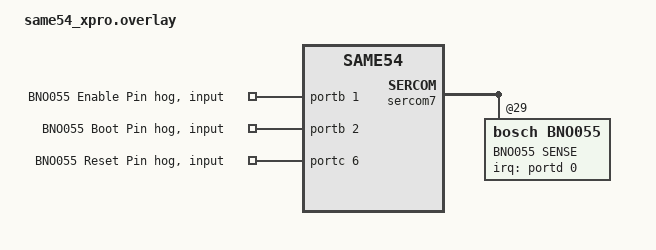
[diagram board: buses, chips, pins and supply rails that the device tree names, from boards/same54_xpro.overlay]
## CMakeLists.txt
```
# SPDX-License-Identifier: Apache-2.0

cmake_minimum_required(VERSION 3.20.0)
find_package(Zephyr REQUIRED HINTS $ENV{ZEPHYR_BASE})

project(multiThreadApp)
target_sources(app PRIVATE src/main.c src/app_pwm_thread.c src/app_sensor_thread.c src/app_button_thread.c)
target_include_directories(app PRIVATE ${CMAKE_CURRENT_SOURCE_DIR}/include)
```

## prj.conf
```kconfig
CONFIG_GPIO=y
CONFIG_I2C=y
CONFIG_PWM=y
CONFIG_SENSOR=y
CONFIG_BNO055=y
CONFIG_BNO055_TRIGGER=y
CONFIG_LOG=y
CONFIG_LOG_DEFAULT_LEVEL=3
# CONFIG_SHELL=y
# CONFIG_THREAD_MONITOR=y
# CONFIG_THREAD_NAME=y
# CONFIG_THREAD_STACK_INFO=y
# CONFIG_THREAD_ANALYZER=y
```

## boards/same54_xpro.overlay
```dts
/ {
    aliases {
        userled = &pwm_led0;
        userbutton = &button0;
	};
};

&gmac{
	status="disabled";
};

&portb {
    gpio-controller;
    #gpio-cells = <2>;
    status = "okay";
    
    // Enable Pin Configuration
    enable_pin: enable {
        gpios = <1 GPIO_ACTIVE_HIGH>;
        gpio-hog;                     // Mark the pin as hogged
        line-name = "BNO055 Enable Pin";  // Label for the enable pin
    };

    boot_pin: boot {
        gpios = <2 GPIO_ACTIVE_HIGH>;
        gpio-hog;                     // Mark the pin as hogged
        line-name = "BNO055 Boot Pin";    // Label for the boot pin
    };
};

&portc {
    gpio-controller;
    #gpio-cells = <2>;
    status = "okay";

    //Reset Pin Configuration
    reset_pin: reset {
        gpios = <6 GPIO_ACTIVE_HIGH>; // Pin 28 for reset
        gpio-hog;                     // Mark the pin as hogged
        line-name = "BNO055 Reset Pin";   // Label for the reset pin
    };
};

&sercom7 {
	bno055: bno055@29 {
		status = "okay";
	 	compatible = "bosch,bno055";
        reg = <0x29>;
	    irq-gpios = <&portd 0 (GPIO_ACTIVE_HIGH | GPIO_PULL_DOWN)>;
	 	use_xtal;
		label = "BNO055 SENSE";
	};
};
```

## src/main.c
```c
#include <zephyr/kernel.h>
#include <zephyr/device.h>
#include <zephyr/devicetree.h>
#include <zephyr/logging/log.h>
#include <zephyr/drivers/gpio.h>
#include <zephyr/drivers/pwm.h>
#include <zephyr/drivers/i2c.h>
#include <zephyr/drivers/sensor.h>

// Application header with structure and function prototype
#include <app_pwm_thread.h>
#include <app_button_thread.h>
#include <app_sensor_thread.h>

// bno055 library header file
#include <bno055.h>


LOG_MODULE_REGISTER(main_log, LOG_LEVEL_INF);

// TODO #1: define stack size




// TODO #2: stack size defined to each specific thread



// TODO #3: creating, and allocating the stack size for each thread and priority in the system
int main(void)
{
        initSYSTEM();
        

        
        return 0;
}
```

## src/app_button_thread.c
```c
// Zephyr library header files
#include <zephyr/kernel.h>
#include <zephyr/device.h>
#include <zephyr/devicetree.h>
#include <zephyr/logging/log.h>
#include <zephyr/drivers/gpio.h>
#include <zephyr/drivers/pwm.h>
#include <zephyr/drivers/i2c.h>
#include <zephyr/drivers/sensor.h>

// Application header with structure and function prototype
#include <app_pwm_thread.h>
#include <app_button_thread.h>
#include <app_sensor_thread.h>

// bno055 library header file
#include <bno055.h>

// get devicetree node
const struct gpio_dt_spec button = GPIO_DT_SPEC_GET_OR(SW0_NODE, gpios, {0});
// callback structures
struct gpio_callback buttonCallback;
// to track the last button press
static uint32_t lastTime = 0U;


LOG_MODULE_REGISTER(button_thread_log, LOG_LEVEL_INF);

// create binary semaphore with inital value as zero
K_SEM_DEFINE(sw_sem, 0, 1);

volatile enum bno055_sensor_channel currentChannel = BNO055_SENSOR_CHAN_CALIBRATION_SGAM;

// check for the swo readiness, configuration, and interrupt callback setup
int init_SW0(void)
{
    int ret;
        if (!gpio_is_ready_dt(&button)) 
        {
                LOG_ERR("Error: button device %s is not ready\n", button.port->name);
                return -1;
        }

        ret = gpio_pin_configure_dt(&button, GPIO_INPUT);
        if (ret != 0) 
        {
                LOG_ERR("Error %d: failed to configure %s pin %d\n", ret, button.port->name, button.pin);
                return -1;
        }

        ret = gpio_pin_interrupt_configure_dt(&button, GPIO_INT_EDGE_TO_ACTIVE);
        if (ret != 0) 
        {
                LOG_ERR("Error %d: failed to configure interrupt on %s pin %d\n", ret, button.port->name, button.pin);
                return -1;
        }

        gpio_init_callback(&buttonCallback, buttonPressed_handler, BIT(button.pin));
        gpio_add_callback(button.port, &buttonCallback);
        return 0;
}

// interrupt handler for sw0
void buttonPressed_handler(const struct device *dev, struct gpio_callback *cb, uint32_t pins)
{
        /* Generate Button Press Event */
        uint32_t currentTime = k_uptime_get_32();
        if(currentTime - lastTime > DEBOUNCE_DELAY_MS)
        {
                LOG_INF("Captured the Button event\r\n");
                k_sem_give(&sw_sem);
                lastTime = currentTime; 
        }else{
                LOG_INF("Debounced button press ignored\r\n");
        }
}




// TODO #4: thread to switch between channels on binary semaphore take

void channelSelect_Thread(void* arg1, void* arg2, void* arg3)
{

}
```

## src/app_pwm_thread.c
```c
// zephyr library header files
#include <zephyr/kernel.h>
#include <zephyr/device.h>
#include <zephyr/devicetree.h>
#include <zephyr/logging/log.h>
#include <zephyr/drivers/gpio.h>
#include <zephyr/drivers/pwm.h>
#include <zephyr/drivers/i2c.h>
#include <zephyr/drivers/sensor.h>

// Application header with structure and function prototype
#include <app_pwm_thread.h>
#include <app_button_thread.h>
#include <app_sensor_thread.h>

// bno055 library header file
#include <bno055.h>


LOG_MODULE_REGISTER(pwm_thread_log, LOG_LEVEL_INF);

struct pwm_dt_spec pwmBlink  = PWM_DT_SPEC_GET(DT_ALIAS(userled));


// initialize ledPWM, swo and i2c node connected with BNO055 sensor
void initSYSTEM()
{
        
        if(!pwm_is_ready_dt(&pwmBlink))
        {
            LOG_ERR("Error occure while PWM init\r\n");
        }
        if(0 != init_SW0())
        {
            LOG_ERR("Error occure while GPIO init\r\n");
        }
        initI2CNode();
        
}


// TODO #5: thread to set the pwm pulse and disable it

void ledPWM_Thread(void* arg1, void* arg2, void* arg3)
{

        
}
```

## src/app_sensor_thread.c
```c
#include <zephyr/kernel.h>
#include <zephyr/device.h>
#include <zephyr/devicetree.h>
#include <zephyr/logging/log.h>
#include <zephyr/drivers/gpio.h>
#include <zephyr/drivers/pwm.h>
#include <zephyr/drivers/i2c.h>
#include <zephyr/drivers/sensor.h>

// Application header with structure and function prototype
#include <app_pwm_thread.h>
#include <app_button_thread.h>
#include <app_sensor_thread.h>

// bno055 library header file
#include <bno055.h>


LOG_MODULE_REGISTER(sensor_thread_log, LOG_LEVEL_INF);

const struct device* bno055_node = DEVICE_DT_GET(DT_NODELABEL(bno055));


// initialize i2c controller with sensor node
void initI2CNode()
{

    if (!device_is_ready(bno055_node)) {
		LOG_ERR("Device %s is not ready\r\n", bno055_node->name);
	}
	struct sensor_value config = {
		.val1 = BNO055_MODE_NDOF,
		.val2 = 0,
	};
	sensor_attr_set(bno055_node, SENSOR_CHAN_ALL, SENSOR_ATTR_CONFIGURATION, &config);
	config.val1 = BNO055_POWER_NORMAL;
	config.val2 = 0;
	sensor_attr_set(bno055_node, SENSOR_CHAN_ALL, BNO055_SENSOR_ATTR_POWER_MODE, &config);
	
}



// TODO #6: thread fetches the sample, reads a specific channel and store the data into respective buffer

void fetchGet_Thread(void* arg1, void* arg2, void* arg3)
{
		
}
```
